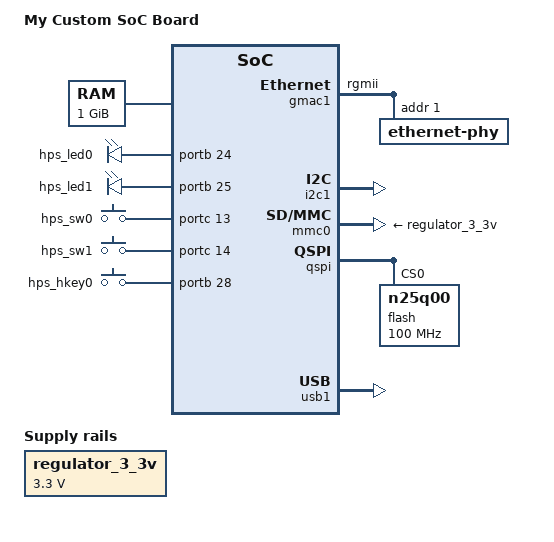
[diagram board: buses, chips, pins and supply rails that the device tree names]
// SPDX-License-Identifier: GPL-2.0+
/*
 * Copyright (C) 2013 Steffen Trumtrar <s.trumtrar@pengutronix.de>
 */

#include "socfpga_cyclone5.dtsi"

/ {
	model = "My Custom SoC Board";
	compatible = "custom,socfpga-cyclone5-my-custom-soc-board", "altr,socfpga-cyclone5", "altr,socfpga";

	chosen {
		bootargs = "earlyprintk";
		stdout-path = "serial0:115200n8";
	};

	memory {
		name = "memory";
		device_type = "memory";
		reg = <0x0 0x40000000>; /* 1GB */
	};

	aliases {
		/* this allow the ethaddr uboot environmnet variable contents
		 * to be added to the gmac1 device tree blob.
		 */
		ethernet0 = &gmac1;
	};

	leds {
		compatible = "gpio-leds";

		hps_led0 {
			label = "hps_led0";
			gpios = <&portb 24 0>;	/* HPS_GPIO53 */
			linux,default-trigger = "heartbeat";
		};

		hps_led1 {
			label = "hps_led1";
			gpios = <&portb 25 0>;	/* HPS_GPIO54 */
			linux,default-trigger = "heartbeat";
		};

	};

	gpio-keys {
		compatible = "gpio-keys";

		hps_sw0 {
			label = "hps_sw0";
			gpios = <&portc 13 0>;	/* HPS_GPI0 */
			linux,input-type = <5>;	/* EV_SW */
			linux,code = <0x0>;	/* SW_LID */
		};

		hps_sw1 {
			label = "hps_sw1";
			gpios = <&portc 14 0>;	/* HPS_GPI1 */
			linux,input-type = <5>;	/* EV_SW */
			linux,code = <0x5>;	/* SW_DOCK */
		};


		hps_hkey0 {
			label = "hps_hkey0";
			gpios = <&portb 28 0>;	/* HPS_GPIO57 */
			linux,code = <194>;	/* KEY_F24 */
		};

	};

	regulator_3_3v: vcc3p3-regulator {
		compatible = "regulator-fixed";
		regulator-name = "VCC3P3";
		regulator-min-microvolt = <3300000>;
		regulator-max-microvolt = <3300000>;
	};
};

&gmac1 {
	#address-cells = <1>;
	#size-cells = <0>;

	status = "okay";
	phy-mode = "rgmii";

	ethernet-phy@1 {
		reg = <1>;
		adi,rx-internal-delay-ps = <2000>;
		adi,tx-internal-delay-ps = <2000>;
	};
};

&gpio0 {	/* GPIO 0..29 */
	status = "okay";
};

&gpio1 {	/* GPIO 30..57 */
	status = "okay";
};

&gpio2 {	/* GPIO 58..66 (HLGPI 0..13 at offset 13) */
	status = "okay";
};

&i2c1 {
	status = "okay";
};

&mmc0 {
	vmmc-supply = <&regulator_3_3v>;
	vqmmc-supply = <&regulator_3_3v>;
	status = "okay";
};

&qspi {
	status = "okay";

	flash: flash@0 {
		#address-cells = <1>;
		#size-cells = <1>;
		compatible = "n25q00";
		reg = <0>;
		spi-max-frequency = <100000000>;

		m25p,fast-read;
		cdns,page-size = <256>;
		cdns,block-size = <16>;
		cdns,read-delay = <4>;
		cdns,tshsl-ns = <50>;
		cdns,tsd2d-ns = <50>;
		cdns,tchsh-ns = <4>;
		cdns,tslch-ns = <4>;
	};
};

&usb1 {
	status = "okay";
};
